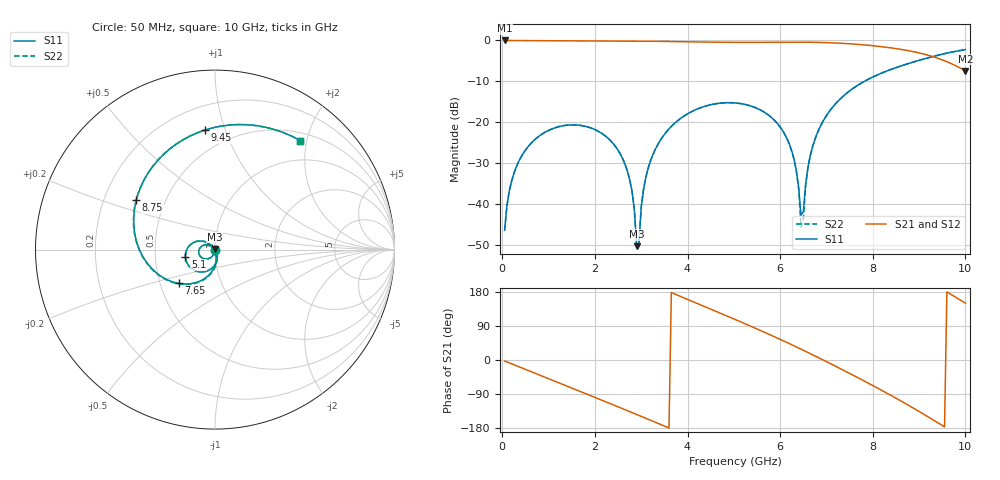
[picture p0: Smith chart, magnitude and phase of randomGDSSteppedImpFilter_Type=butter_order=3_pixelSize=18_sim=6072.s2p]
! freq	dB(S11)	phase(S11)	dB(S12)	phase(S12)
!  dB(S21)	phase(S21)	dB(S22)	phase(S22)
!S-par simulation data
#  GHz  S  DB  R 50
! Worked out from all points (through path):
!   200 points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, 50 MHz to 10 GHz, reference 50 ohm
!   highest |S21| = -0.01 dB at 50 MHz (marker M1); lowest = -7.5 dB at 10 GHz (marker M2)
!   group delay of S21, straight-line fit = 155 ps
!   lowest |S11| = -50.4 dB at 2.9 GHz (marker M3), VSWR 1.01, Z = 49.9 + j0.294 ohm
!   |S11| at or under -10 dB: start of sweep to 7.822 GHz
!   |S22| runs from -49.5 to -2.3 dB; largest |S21 - S12| = 0
!   S11 on the Smith chart (normalised r, x): 50 MHz: 1.00, -0.01; 5.1 GHz: 0.71, -0.06; 7.65 GHz: 0.62, -0.25; 8.75 GHz: 0.34, +0.26; 9.45 GHz: 0.35, +0.85; 10 GHz: 0.63, +1.89
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0.05  -46.48 -91.7  -0.01 -2.6  -0.01 -2.6  -46.48 -91.7
0.2  -34.50 -99.9  -0.03 -10.0  -0.03 -10.0  -34.50 -99.9
0.5  -26.86 -115.1  -0.04 -24.8  -0.04 -24.8  -26.86 -115.2
1.75  -20.92 -177.3  -0.13 -86.2  -0.13 -86.2  -20.92 -177.5
2.6  -28.99 139.6  -0.16 -128.5  -0.16 -128.5  -28.98 138.6
2.8  -36.89 127.5  -0.17 -138.6  -0.17 -138.6  -36.85 124.8
2.9  -50.39 103.4  -0.17 -143.7  -0.17 -143.7  -49.51 91.6
2.95  -50.08 -39.4  -0.18 -146.2  -0.18 -146.2  -49.37 -27.0
3.1  -33.50 -62.2  -0.19 -153.9  -0.19 -153.9  -33.49 -60.3
3.4  -24.69 -78.8  -0.23 -169.2  -0.23 -169.2  -24.69 -78.1
4.15  -17.09 -117.4  -0.36 152.3  -0.36 152.3  -17.10 -117.2
5.05  -15.33 -163.4  -0.47 105.8  -0.47 105.8  -15.33 -163.5
5.1  -15.39 -165.9  -0.48 103.2  -0.48 103.2  -15.39 -166.1
6.15  -24.10 140.3  -0.42 46.0  -0.42 46.0  -24.13 138.1
6.35  -31.88 135.9  -0.42 34.5  -0.42 34.5  -32.05 129.4
6.45  -42.81 169.3  -0.42 28.7  -0.42 28.7  -45.70 147.3
6.7  -26.02 -82.6  -0.45 13.9  -0.45 13.9  -26.05 -78.5
7.65  -11.16 -137.2  -0.94 -44.8  -0.94 -44.8  -11.17 -136.1
8.35  -7.28 176.3  -1.76 -90.5  -1.76 -90.5  -7.28 177.1
8.75  -5.72 148.0  -2.47 -118.0  -2.47 -118.0  -5.73 148.6
9.45  -3.51 95.0  -4.55 -169.0  -4.55 -169.0  -3.51 95.3
10  -2.26 51.9  -7.46 150.1  -7.46 150.1  -2.26 52.0
